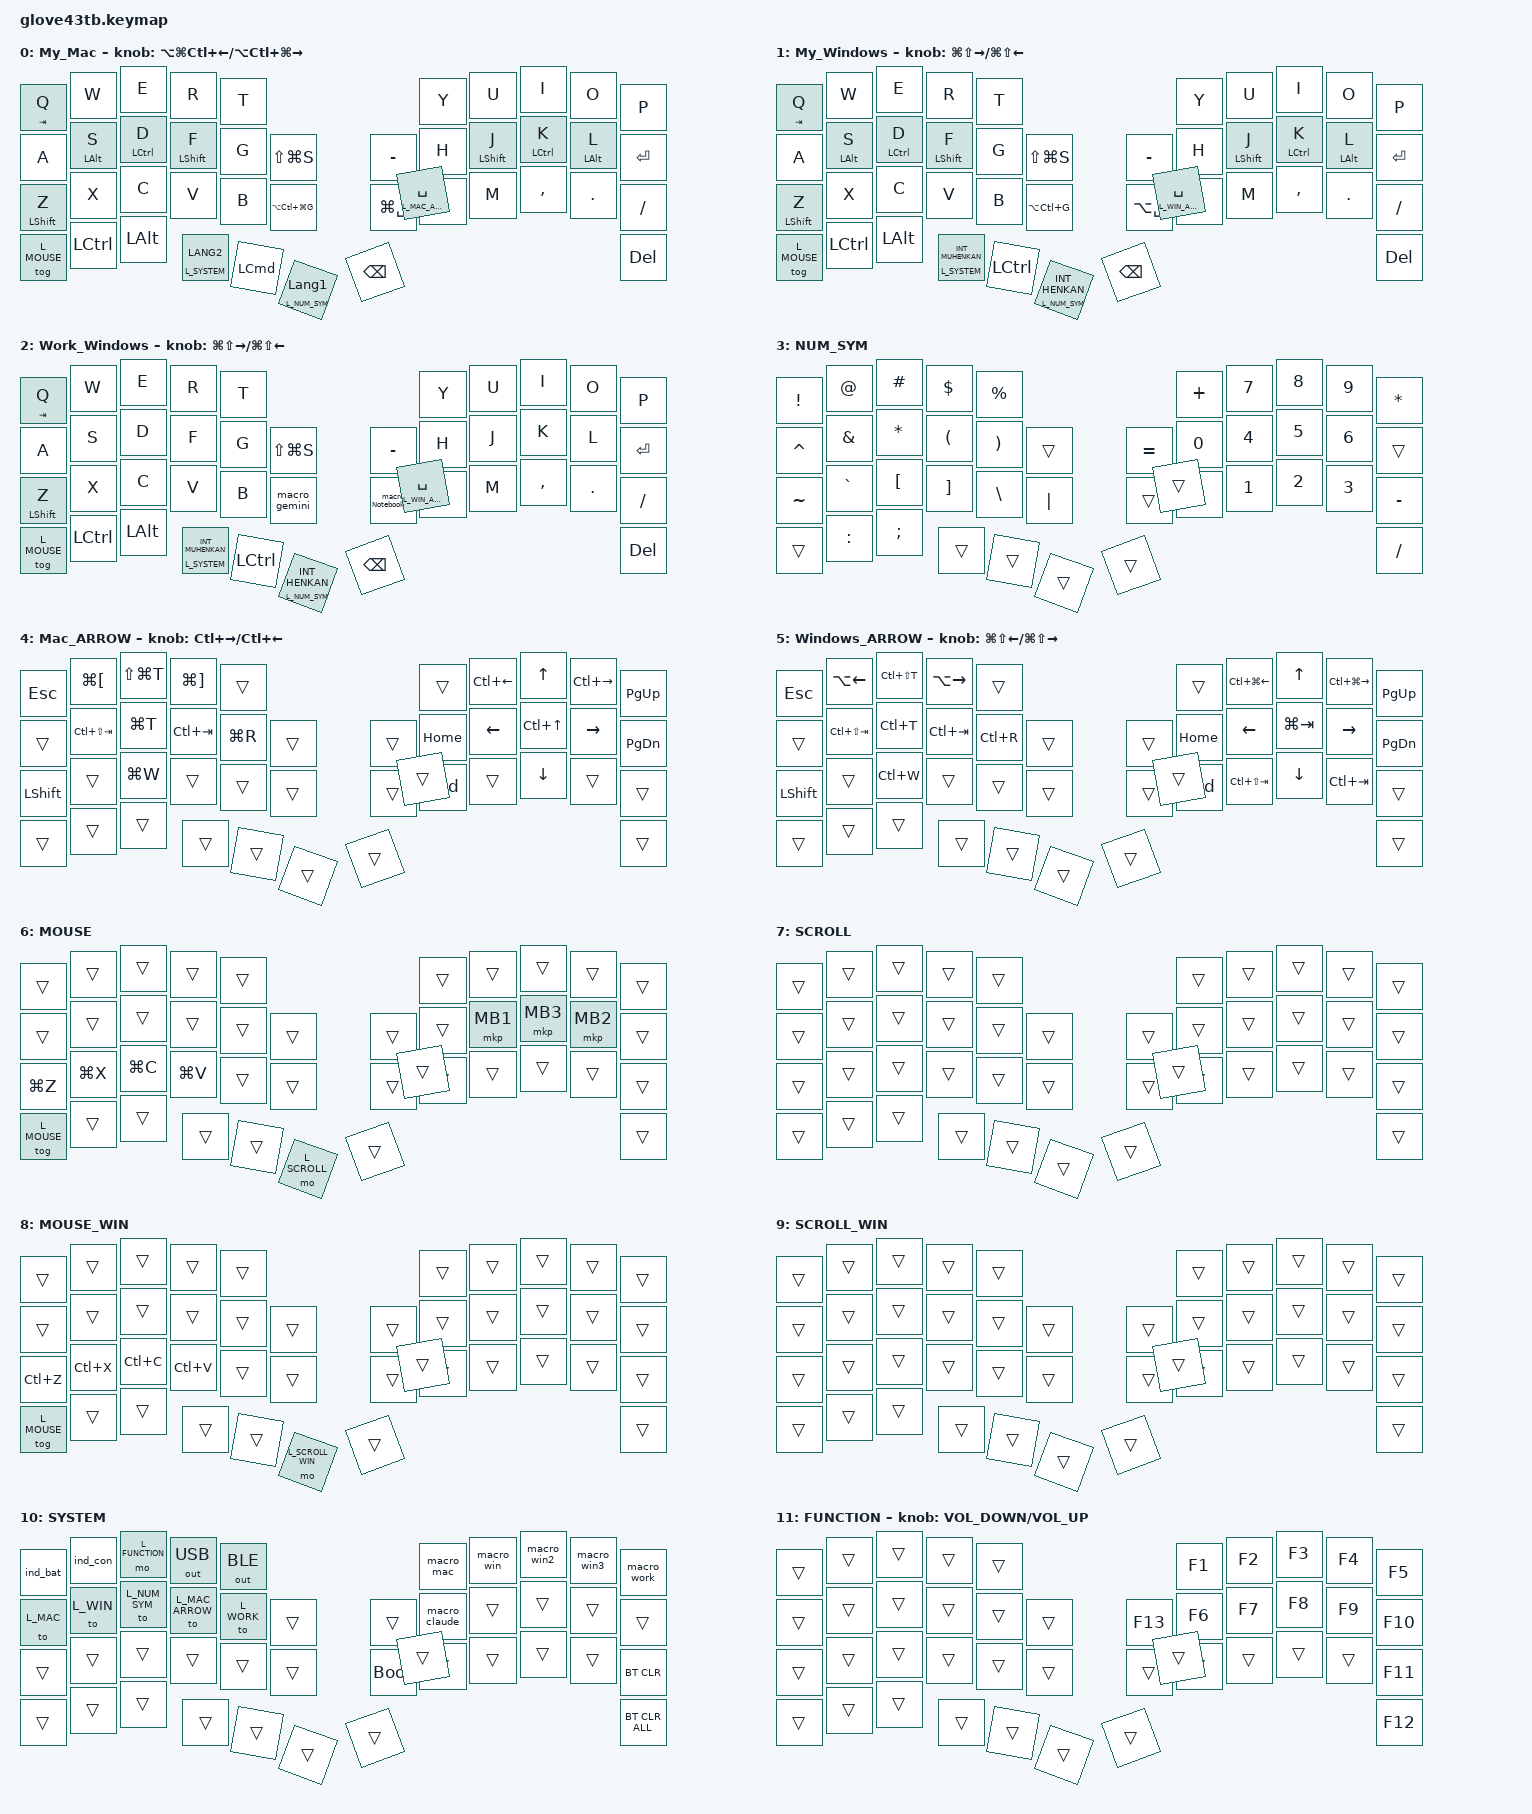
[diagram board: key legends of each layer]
#define ZMK_POINTING_DEFAULT_SCRL_VAL 150

#include <behaviors/rgbled_widget.dtsi>
#include <dt-bindings/zmk/input_transform.h>
#include <input/processors.dtsi>
#include <zephyr/dt-bindings/input/input-event-codes.h>
#include <behaviors.dtsi>
#include <dt-bindings/zmk/bt.h>
#include <dt-bindings/zmk/keys.h>
#include <dt-bindings/zmk/outputs.h>
#include <dt-bindings/zmk/pointing.h>

// レイヤー番号の定義。
// keymap ブロック内のレイヤーは「書かれている順」に 0 から番号が振られるので、
// ここの数字と keymap 内の並び順は必ず一致させること。
// 番号を直に書かず必ずこの名前を使うこと(並べ替え時の付け替えミスを防ぐため)。
//
// ※ boards/shields/glove43tb/glove43tb_R.overlay も L_MOUSE / L_SCROLL / L_SCROLL_WIN を
//    数字で参照している。並べ替えたら overlay 側も必ず合わせること。
#define L_MAC        0   // ベース: 自宅Mac
#define L_WIN        1   // ベース: 自宅Windows
#define L_WORK       2   // ベース: 職場Windows
#define L_NUM_SYM    3   // 数字・記号
#define L_MAC_ARROW  4   // 矢印・編集(Mac)
#define L_WIN_ARROW  5   // 矢印・編集(Windows)
#define L_MOUSE      6   // マウス(Mac基準)
#define L_SCROLL     7   // スクロール(Mac基準)
#define L_MOUSE_WIN  8   // マウス(Windows基準) ※L_WIN/L_WORK + L_MOUSE で自動
#define L_SCROLL_WIN 9   // スクロール(Windows基準)
#define L_SYSTEM     10  // システム・プロファイル切替
#define L_FUNCTION   11  // ファンクションキー

&mt {
    flavor = "balanced";
    quick-tap-ms = <0>;
};

&mmv {
    delay-ms = <20>;
    trigger-period-ms = <5>;
    time-to-max-speed-ms = <100>;
    acceleration-exponent = <2>;
};

&msc {
    delay-ms = <3>;
    trigger-period-ms = <3>;
    time-to-max-speed-ms = <100>;
    acceleration-exponent = <0>;
};

/ {
    conditional_layers {
        compatible = "zmk,conditional-layers";

        // Windows系ベースでマウスレイヤーに入ったら、Windows用マウスレイヤーへ自動で乗せる
        mouse_win_auto {
            if-layers = <L_WIN L_MOUSE>;
            then-layer = <L_MOUSE_WIN>;
        };

        mouse_work_win_auto {
            if-layers = <L_WORK L_MOUSE>;
            then-layer = <L_MOUSE_WIN>;
        };
    };

    combos {
        compatible = "zmk,combos";

        combo_mouse_lock {
            timeout-ms = <150>;
            key-positions = <8 9>;
            bindings = <&tog L_MOUSE>;
        };
    };

    macros {
        macro_mac: macro_mac {
            compatible = "zmk,behavior-macro";
            #binding-cells = <0>;
            bindings = <&to L_MAC &out OUT_BLE &bt BT_SEL 0>;
        };

        macro_win: macro_win {
            compatible = "zmk,behavior-macro";
            #binding-cells = <0>;
            bindings = <&to L_WIN &out OUT_BLE &bt BT_SEL 1>;
        };

        macro_win2: macro_win2 {
            compatible = "zmk,behavior-macro";
            #binding-cells = <0>;
            bindings = <&to L_WIN &out OUT_BLE &bt BT_SEL 2>;
        };

        macro_win3: macro_win3 {
            compatible = "zmk,behavior-macro";
            #binding-cells = <0>;
            bindings = <&to L_WIN &out OUT_BLE &bt BT_SEL 3>;
        };

        macro_work: macro_work {
            compatible = "zmk,behavior-macro";
            #binding-cells = <0>;
            bindings = <&to L_WORK &out OUT_BLE &bt BT_SEL 4>;
        };

        macro_gemini: macro_gemini {
            compatible = "zmk,behavior-macro";
            #binding-cells = <0>;
            bindings = <&kp LC(L) &kp G &kp E &kp M &kp I &kp N &kp I &kp DOT &kp G &kp O &kp O &kp G &kp L &kp E &kp DOT &kp C &kp O &kp M &kp ENTER>;
            label = "NEW_MACRO";
        };

        macro_NotebookLM: macro_NotebookLM {
            compatible = "zmk,behavior-macro";
            #binding-cells = <0>;
            bindings = <&kp LC(L) &kp N &kp O &kp T &kp E &kp B &kp O &kp O &kp K &kp L &kp M &kp DOT &kp G &kp O &kp O &kp G &kp L &kp E &kp DOT &kp C &kp O &kp M &kp ENTER>;
            label = "NEW_MACRO";
        };

        // 自宅Windows用: Winキーでスタートメニュー検索→Claudeデスクトップアプリを起動
        macro_claude: macro_claude {
            compatible = "zmk,behavior-macro";
            #binding-cells = <0>;
            bindings =
                <&kp LGUI>
              , <&macro_wait_time 400>
              , <&kp C>
              , <&kp L>
              , <&kp A>
              , <&kp U>
              , <&kp D>
              , <&kp E>
              , <&macro_wait_time 30>
              , <&kp ENTER>
              ;
            label = "NEW_MACRO";
        };
    };

    behaviors {
        sensor_rotate_kp: sensor_rotate_kp {
            compatible = "zmk,behavior-sensor-rotate-var";
            #sensor-binding-cells = <2>;
            bindings = <&kp>, <&kp>;
        };

        mouse_wheel_scroll: mouse_wheel_scroll {
            compatible = "zmk,behavior-sensor-rotate-var";
            #sensor-binding-cells = <2>;
            bindings = <&msc>, <&msc>;

            tap-ms = <20>;
        };

        // ホームロー修飾(試験導入): 既存のQ/Zのmod-tapとタップ感覚を分けるため別behaviorにしている
        hm: home_row_mod {
            compatible = "zmk,behavior-hold-tap";
            #binding-cells = <2>;
            flavor = "balanced";
            tapping-term-ms = <200>;
            quick-tap-ms = <0>;
            require-prior-idle-ms = <150>;
            bindings = <&kp>, <&kp>;
        };
    };

    keymap {
        compatible = "zmk,keymap";

        // ---- L0: ベース(自宅Mac) ----
        My_Mac {
            bindings = <
&mt TAB Q         &kp W             &kp E         &kp R                  &kp T                                                        &kp Y          &kp U        &kp I               &kp O            &kp P
&kp A             &hm LEFT_ALT S    &hm LEFT_CONTROL D  &hm LSHFT F      &kp G                     &kp LS(LG(S))          &kp MINUS   &kp H          &hm LSHFT J  &hm LEFT_CONTROL K  &hm LEFT_ALT L   &kp ENTER
&mt LEFT_SHIFT Z  &kp X             &kp C         &kp V                  &kp B                     &kp LA(LC(LG(G)))      &kp LG(SPACE)  &kp N       &kp M        &kp COMMA           &kp DOT          &kp SLASH
&tog L_MOUSE      &kp LEFT_CONTROL  &kp LEFT_ALT  &lt L_SYSTEM LANG2     &kp LEFT_COMMAND          &lt L_NUM_SYM LANGUAGE_1  &kp BACKSPACE  &lt L_MAC_ARROW SPACE                                      &kp DEL
            >;

            sensor-bindings = <&inc_dec_kp LA(LG(LC(LEFT))) LA(LC(LG(RIGHT)))>;
        };

        // ---- L1: ベース(自宅Windows) ----
        My_Windows {
            bindings = <
&mt TAB Q         &kp W             &kp E         &kp R                       &kp T                                                       &kp Y          &kp U        &kp I               &kp O           &kp P
&kp A             &hm LEFT_ALT S    &hm LEFT_CONTROL D  &hm LSHFT F           &kp G                    &kp LS(LG(S))         &kp MINUS    &kp H          &hm LSHFT J  &hm LEFT_CONTROL K  &hm LEFT_ALT L  &kp ENTER
&mt LEFT_SHIFT Z  &kp X             &kp C         &kp V                       &kp B                    &kp LA(LC(G))         &kp LA(SPACE)  &kp N        &kp M        &kp COMMA           &kp DOT         &kp SLASH
&tog L_MOUSE      &kp LEFT_CONTROL  &kp LEFT_ALT  &lt L_SYSTEM INT_MUHENKAN   &kp LEFT_CONTROL         &lt L_NUM_SYM INT_HENKAN  &kp BACKSPACE  &lt L_WIN_ARROW SPACE                                    &kp DEL
            >;

            sensor-bindings = <&inc_dec_kp LG(LS(RIGHT)) LG(LS(LEFT))>;
        };

        // ---- L2: ベース(職場Windows) ----
        Work_Windows {
            bindings = <
&mt TAB Q         &kp W             &kp E         &kp R                       &kp T                                                          &kp Y        &kp U  &kp I      &kp O    &kp P
&kp A             &kp S             &kp D         &kp F                       &kp G             &kp LS(LG(S))         &kp MINUS              &kp H        &kp J  &kp K      &kp L    &kp ENTER
&mt LEFT_SHIFT Z  &kp X             &kp C         &kp V                       &kp B             &macro_gemini         &macro_NotebookLM      &kp N        &kp M  &kp COMMA  &kp DOT  &kp SLASH
&tog L_MOUSE      &kp LEFT_CONTROL  &kp LEFT_ALT  &lt L_SYSTEM INT_MUHENKAN   &kp LEFT_CONTROL  &lt L_NUM_SYM INT_HENKAN  &kp BACKSPACE      &lt L_WIN_ARROW SPACE                   &kp DEL
            >;

            sensor-bindings = <&inc_dec_kp LG(LS(RIGHT)) LG(LS(LEFT))>;
        };

        // ---- L3: 数字・記号 ----
        NUM_SYM {
            bindings = <
&kp EXCL   &kp AT     &kp HASH       &kp DLLR  &kp PRCNT                           &kp PLUS  &kp N7  &kp N8  &kp N9  &kp STAR
&kp CARET  &kp AMPS   &kp ASTRK      &kp LPAR  &kp RPAR   &trans        &kp EQUAL  &kp N0    &kp N4  &kp N5  &kp N6  &trans
&kp TILDE  &kp GRAVE  &kp LBKT       &kp RBKT  &kp BSLH   &kp PIPE      &trans     &kp DOT   &kp N1  &kp N2  &kp N3  &kp MINUS
&trans     &kp COLON  &kp SEMICOLON  &trans    &trans     &trans        &trans     &trans                            &kp SLASH
            >;
        };

        // ---- L4: 矢印・編集(Mac) ----
        Mac_ARROW {
            bindings = <
&kp ESCAPE  &kp LG(LEFT_BRACKET)  &kp LS(LG(T))  &kp LG(RIGHT_BRACKET)  &trans                         &trans    &kp LC(LEFT)  &kp UP            &kp LC(RIGHT)  &kp PG_UP
&trans      &kp LC(LS(TAB))       &kp LG(T)      &kp LC(TAB)            &kp LG(R)  &trans      &trans  &kp HOME  &kp LEFT      &kp LC(UP_ARROW)  &kp RIGHT      &kp PG_DN
&kp LSHFT   &trans                &kp LG(W)      &trans                 &trans     &trans      &trans  &kp END   &trans        &kp DOWN_ARROW    &trans         &trans
&trans      &trans                &trans         &trans                 &trans     &trans      &trans  &trans                                                   &trans
            >;

            sensor-bindings = <&inc_dec_kp LC(RIGHT) LC(LEFT)>;
        };

        // ---- L5: 矢印・編集(Windows) ----
        Windows_ARROW {
            bindings = <
&kp ESCAPE  &kp LA(LEFT)     &kp LC(LS(T))  &kp LA(RIGHT)  &trans                         &trans    &kp LC(LG(LEFT))  &kp UP          &kp LC(LG(RIGHT))  &kp PG_UP
&trans      &kp LC(LS(TAB))  &kp LC(T)      &kp LC(TAB)    &kp LC(R)  &trans      &trans  &kp HOME  &kp LEFT          &kp LG(TAB)     &kp RIGHT          &kp PG_DN
&kp LSHFT   &trans           &kp LC(W)      &trans         &trans     &trans      &trans  &kp END   &kp LC(LS(TAB))   &kp DOWN_ARROW  &kp LC(TAB)        &trans
&trans      &trans           &trans         &trans         &trans     &trans      &trans  &trans                                                         &trans
            >;

            sensor-bindings = <&inc_dec_kp LG(LS(LEFT)) LG(LS(RIGHT))>;
        };

        // ---- L6: マウス(Mac基準) ----
        MOUSE {
            bindings = <
&trans        &trans     &trans     &trans     &trans                            &trans  &trans    &trans    &trans    &trans
&trans        &trans     &trans     &trans     &trans  &trans            &trans  &trans  &mkp MB1  &mkp MB3  &mkp MB2  &trans
&kp LG(Z)     &kp LG(X)  &kp LG(C)  &kp LG(V)  &trans  &trans            &trans  &trans  &trans    &trans    &trans    &trans
&tog L_MOUSE  &trans     &trans     &trans     &trans  &mo L_SCROLL      &trans  &trans                                &trans
            >;
        };

        // ---- L7: スクロール(Mac基準) ----
        SCROLL {
            bindings = <
&trans  &trans  &trans  &trans  &trans                      &trans  &trans  &trans  &trans  &trans
&trans  &trans  &trans  &trans  &trans  &trans      &trans  &trans  &trans  &trans  &trans  &trans
&trans  &trans  &trans  &trans  &trans  &trans      &trans  &trans  &trans  &trans  &trans  &trans
&trans  &trans  &trans  &trans  &trans  &trans      &trans  &trans                          &trans
            >;
        };

        // ---- L8: マウス(Windows基準) ※L_WIN/L_WORK + L_MOUSE で自動 ----
        MOUSE_WIN {
            bindings = <
&trans        &trans     &trans     &trans     &trans                                &trans  &trans  &trans  &trans  &trans
&trans        &trans     &trans     &trans     &trans  &trans                &trans  &trans  &trans  &trans  &trans  &trans
&kp LC(Z)     &kp LC(X)  &kp LC(C)  &kp LC(V)  &trans  &trans                &trans  &trans  &trans  &trans  &trans  &trans
&tog L_MOUSE  &trans     &trans     &trans     &trans  &mo L_SCROLL_WIN      &trans  &trans                          &trans
            >;
        };

        // ---- L9: スクロール(Windows基準) ----
        SCROLL_WIN {
            bindings = <
&trans  &trans  &trans  &trans  &trans                      &trans  &trans  &trans  &trans  &trans
&trans  &trans  &trans  &trans  &trans  &trans      &trans  &trans  &trans  &trans  &trans  &trans
&trans  &trans  &trans  &trans  &trans  &trans      &trans  &trans  &trans  &trans  &trans  &trans
&trans  &trans  &trans  &trans  &trans  &trans      &trans  &trans                          &trans
            >;
        };

        // ---- L10: システム・プロファイル切替 ----
        SYSTEM {
            bindings = <
&ind_bat   &ind_con   &mo L_FUNCTION  &out OUT_USB      &out OUT_BLE                        &macro_mac     &macro_win  &macro_win2  &macro_win3  &macro_work
&to L_MAC  &to L_WIN  &to L_NUM_SYM   &to L_MAC_ARROW   &to L_WORK    &trans      &trans     &macro_claude  &trans      &trans       &trans       &trans
&trans     &trans     &trans          &trans            &trans        &trans      &bootloader  &trans       &trans      &trans       &trans       &bt BT_CLR
&trans     &trans     &trans          &trans            &trans        &trans      &trans     &trans                                               &bt BT_CLR_ALL
            >;
        };

        // ---- L11: ファンクションキー ----
        FUNCTION {
            bindings = <
&trans  &trans  &trans  &trans  &trans                       &kp F1  &kp F2  &kp F3  &kp F4  &kp F5
&trans  &trans  &trans  &trans  &trans  &trans      &kp F13  &kp F6  &kp F7  &kp F8  &kp F9  &kp F10
&trans  &trans  &trans  &trans  &trans  &trans      &trans   &trans  &trans  &trans  &trans  &kp F11
&trans  &trans  &trans  &trans  &trans  &trans      &trans   &trans                          &kp F12
            >;

            sensor-bindings = <&sensor_rotate_kp C_VOLUME_DOWN C_VOLUME_UP>;
        };
    };
};
